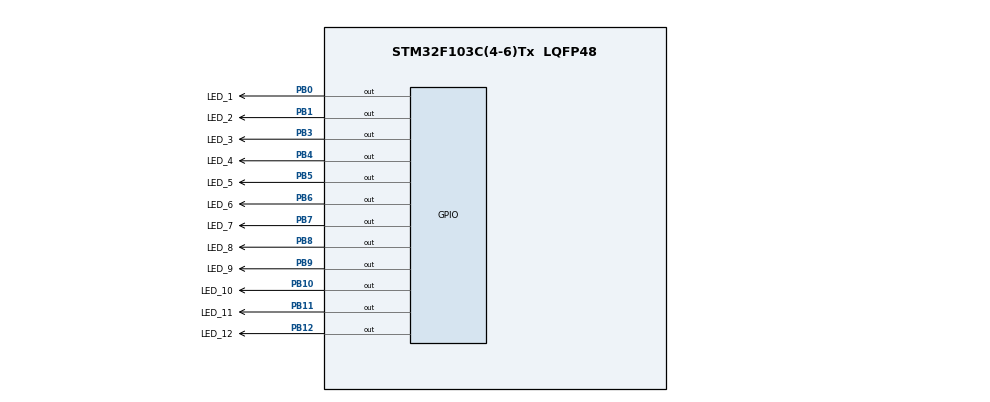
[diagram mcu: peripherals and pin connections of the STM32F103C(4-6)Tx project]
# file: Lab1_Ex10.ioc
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Mcu.Family=STM32F1
Mcu.Name=STM32F103C(4-6)Tx
Mcu.Package=LQFP48
NVIC.PriorityGroup=NVIC_PRIORITYGROUP_4
PA13.Mode=Serial_Wire
PA13.Signal=SYS_JTMS-SWDIO
PA14.Mode=Serial_Wire
PA14.Signal=SYS_JTCK-SWCLK
PB0.GPIO_Label=LED_1
PB0.Signal=GPIO_Output
PB1.GPIO_Label=LED_2
PB1.Signal=GPIO_Output
PB10.GPIO_Label=LED_10
PB10.Signal=GPIO_Output
PB11.GPIO_Label=LED_11
PB11.Signal=GPIO_Output
PB12.GPIO_Label=LED_12
PB12.Signal=GPIO_Output
PB3.GPIO_Label=LED_3
PB3.Signal=GPIO_Output
PB4.GPIO_Label=LED_4
PB4.Signal=GPIO_Output
PB5.GPIO_Label=LED_5
PB5.Signal=GPIO_Output
PB6.GPIO_Label=LED_6
PB6.Signal=GPIO_Output
PB7.GPIO_Label=LED_7
PB7.Signal=GPIO_Output
PB8.GPIO_Label=LED_8
PB8.Signal=GPIO_Output
PB9.GPIO_Label=LED_9
PB9.Signal=GPIO_Output
PD0-OSC_IN.Mode=HSE-External-Oscillator
PD0-OSC_IN.Signal=RCC_OSC_IN
PD1-OSC_OUT.Mode=HSE-External-Oscillator
PD1-OSC_OUT.Signal=RCC_OSC_OUT
ProjectManager.HeapSize=0x200
ProjectManager.StackSize=0x400
ProjectManager.TargetToolchain=STM32CubeIDE
RCC.APB1Freq_Value=8000000
RCC.APB2Freq_Value=8000000
board=custom

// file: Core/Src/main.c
/* USER CODE BEGIN Header */
/**
  ******************************************************************************
  * @file           : main.c
  * @brief          : Main program body
  ******************************************************************************
  * @attention
  *
  * Copyright (c) 2024 STMicroelectronics.
  * All rights reserved.
  *
  * This software is licensed under terms that can be found in the LICENSE file
  * in the root directory of this software component.
  * If no LICENSE file comes with this software, it is provided AS-IS.
  *
  ******************************************************************************
  */
/* USER CODE END Header */
#include "main.h"

void SystemClock_Config(void);
static void MX_GPIO_Init(void);

int main(void)
{

  /* MCU Configuration--------------------------------------------------------*/

  /* Reset of all peripherals, Initializes the Flash interface and the Systick. */
  HAL_Init();

  /* Configure the system clock */
  SystemClock_Config();

  /* Initialize all configured peripherals */
  MX_GPIO_Init();

  /* Infinite loop */
  /* USER CODE BEGIN WHILE */

  uint16_t led_pins[] = {LED_12_Pin, LED_1_Pin, LED_2_Pin, LED_3_Pin, LED_4_Pin, LED_5_Pin, LED_6_Pin, LED_7_Pin, LED_8_Pin, LED_9_Pin, LED_10_Pin, LED_11_Pin};

  void clearAllClock() {
    for (int i = 0; i < 12; i++) {
      HAL_GPIO_WritePin(GPIOB, led_pins[i], GPIO_PIN_RESET);
    }
  }

  void setNumberOnClock(int num) {
      // Ensure the number is within the valid range
      if (num < 0 || num > 11) {
          return; // Invalid number, do nothing
      }
      // Turn on the light based on the number
      HAL_GPIO_WritePin(GPIOB, led_pins[num], GPIO_PIN_SET);
  }

  void clearNumberOnClock(int num) {
      // Ensure the number is within the valid range
      if (num < 0 || num > 11) {
          return; // Invalid number, do nothing
      }
      // Turn off the light based on the number
      HAL_GPIO_WritePin(GPIOB, led_pins[num], GPIO_PIN_RESET);
  }

int counter = 0;
  while (1)
  {

    if (counter >= 12) counter = 0;
    void clearAllClock(); //Clears all clocks
    setNumberOnClock(counter++);
    HAL_Delay(1000);

    /* USER CODE END WHILE */

  }
}

void SystemClock_Config(void)
{
  RCC_OscInitTypeDef RCC_OscInitStruct = {0};
  RCC_ClkInitTypeDef RCC_ClkInitStruct = {0};

  /** Initializes the RCC Oscillators according to the specified parameters
  * in the RCC_OscInitTypeDef structure.
  */
  RCC_OscInitStruct.OscillatorType = RCC_OSCILLATORTYPE_HSI;
  RCC_OscInitStruct.HSIState = RCC_HSI_ON;
  RCC_OscInitStruct.HSICalibrationValue = RCC_HSICALIBRATION_DEFAULT;
  RCC_OscInitStruct.PLL.PLLState = RCC_PLL_NONE;
  if (HAL_RCC_OscConfig(&RCC_OscInitStruct) != HAL_OK)
  {
    Error_Handler();
  }

  /** Initializes the CPU, AHB and APB buses clocks
  */
  RCC_ClkInitStruct.ClockType = RCC_CLOCKTYPE_HCLK|RCC_CLOCKTYPE_SYSCLK
                              |RCC_CLOCKTYPE_PCLK1|RCC_CLOCKTYPE_PCLK2;
  RCC_ClkInitStruct.SYSCLKSource = RCC_SYSCLKSOURCE_HSI;
  RCC_ClkInitStruct.AHBCLKDivider = RCC_SYSCLK_DIV1;
  RCC_ClkInitStruct.APB1CLKDivider = RCC_HCLK_DIV1;
  RCC_ClkInitStruct.APB2CLKDivider = RCC_HCLK_DIV1;

  if (HAL_RCC_ClockConfig(&RCC_ClkInitStruct, FLASH_LATENCY_0) != HAL_OK)
  {
    Error_Handler();
  }
}

static void MX_GPIO_Init(void)
{
  GPIO_InitTypeDef GPIO_InitStruct = {0};

  /* GPIO Ports Clock Enable */
  __HAL_RCC_GPIOD_CLK_ENABLE();
  __HAL_RCC_GPIOA_CLK_ENABLE();
  __HAL_RCC_GPIOB_CLK_ENABLE();

  /*Configure GPIO pin Output Level */
  HAL_GPIO_WritePin(GPIOB, LED_1_Pin|LED_2_Pin|LED_10_Pin|LED_11_Pin
                          |LED_12_Pin|LED_3_Pin|LED_4_Pin|LED_5_Pin
                          |LED_6_Pin|LED_7_Pin|LED_8_Pin|LED_9_Pin, GPIO_PIN_RESET);

  GPIO_InitStruct.Mode = GPIO_MODE_OUTPUT_PP;
  GPIO_InitStruct.Pull = GPIO_NOPULL;
  GPIO_InitStruct.Speed = GPIO_SPEED_FREQ_LOW;
  HAL_GPIO_Init(GPIOA, &GPIO_InitStruct);

  /*Configure GPIO pins : LED_1_Pin LED_2_Pin LED_10_Pin LED_11_Pin
                           LED_12_Pin LED_3_Pin LED_4_Pin LED_5_Pin
                           LED_6_Pin LED_7_Pin LED_8_Pin LED_9_Pin */
  GPIO_InitStruct.Pin = LED_1_Pin|LED_2_Pin|LED_10_Pin|LED_11_Pin
                          |LED_12_Pin|LED_3_Pin|LED_4_Pin|LED_5_Pin
                          |LED_6_Pin|LED_7_Pin|LED_8_Pin|LED_9_Pin;
  GPIO_InitStruct.Mode = GPIO_MODE_OUTPUT_PP;
  GPIO_InitStruct.Pull = GPIO_NOPULL;
  GPIO_InitStruct.Speed = GPIO_SPEED_FREQ_LOW;
  HAL_GPIO_Init(GPIOB, &GPIO_InitStruct);

}

void Error_Handler(void)
{
  __disable_irq();
  while (1)
  {
  }
}
